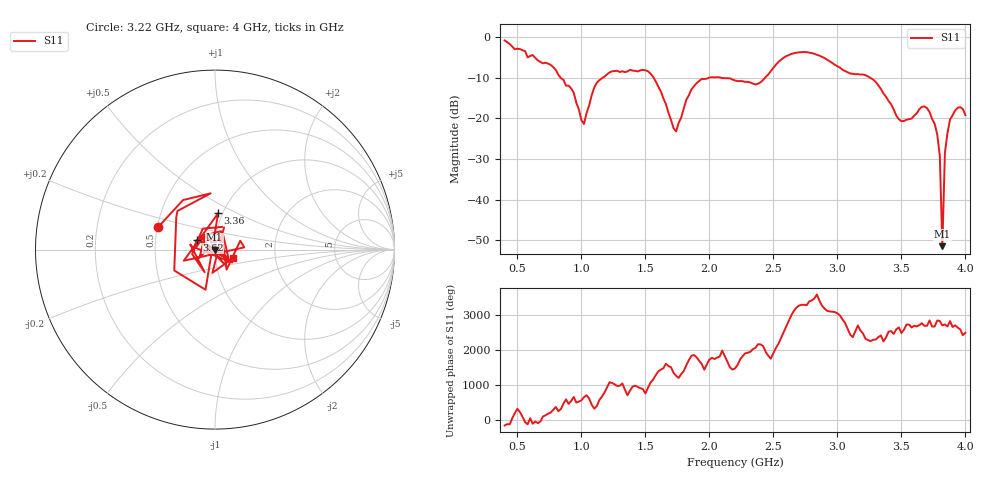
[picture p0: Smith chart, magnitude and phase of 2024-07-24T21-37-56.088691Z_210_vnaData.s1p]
!Created with skrf (http://scikit-rf.org).
# Hz S RI R 50.0
!freq ReS11 ImS11
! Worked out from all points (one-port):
!   181 points, 400 MHz to 4 GHz, reference 50 ohm
!   lowest |S11| = -51.5 dB at 3.82 GHz (marker M1), VSWR 1.01, Z = 49.7 - j0.0112 ohm
!   |S11| at or under -10 dB: 838.2 MHz to 1.165 GHz (326.9 MHz wide, 32.6 % of centre); 1.564 GHz to 1.995 GHz (430.8 MHz wide, 24.2 % of centre); 3.257 GHz to end of sweep (the widest 3 of 4)
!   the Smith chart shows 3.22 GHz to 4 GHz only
!   S11 on the Smith chart (normalised r, x): 3.22 GHz: 0.51, +0.15; 3.36 GHz: 0.95, +0.40; 3.62 GHz: 0.81, +0.09; 4 GHz: 1.21, -0.12
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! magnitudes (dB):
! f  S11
! 400 MHz  -0.8
! 860 MHz  -10.5
! 940 MHz  -13.7
! 1.02 GHz  -21.4
! 1.12 GHz  -11.2
! 1.3 GHz  -8.6
! 1.52 GHz  -8.4
! 1.72 GHz  -22.4
! 1.76 GHz  -21.1
! 1.86 GHz  -12.9
! 1.94 GHz  -10.3
! 2.2 GHz  -10.7
! 2.38 GHz  -11.5
! 2.66 GHz  -4.0
! 3.1 GHz  -8.9
! 3.22 GHz  -9.4
! 3.36 GHz  -13.9
! 3.48 GHz  -20.2
! 3.56 GHz  -20.2
! 3.62 GHz  -18.8
! 3.7 GHz  -17.5
! 3.78 GHz  -23.9
! 3.8 GHz  -29.2
! 3.82 GHz  -51.5
! 3.84 GHz  -28.5
! 3.86 GHz  -23.6
! 3.94 GHz  -17.4
! 4 GHz  -19.2
